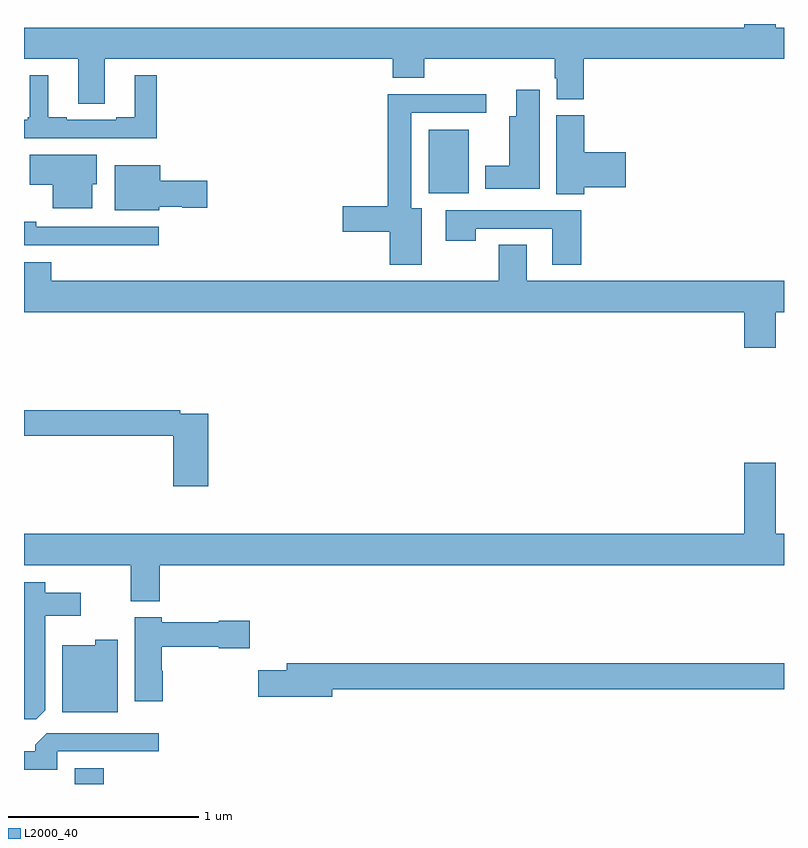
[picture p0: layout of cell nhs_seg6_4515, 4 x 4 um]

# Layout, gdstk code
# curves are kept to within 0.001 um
import gdstk
lib = gdstk.Library(unit=1e-6, precision=1e-09)
def R(c, l, rs):  # rectangles x0, y0, x1, y1
    for r in rs: c.add(gdstk.rectangle(r[:2], r[2:], *l))
def P(c, l, *ps):  # polygons
    for p in ps: c.add(gdstk.Polygon(p, *l))
L2000_40 = (2000, 40)

nhs_seg6_4515 = lib.new_cell('nhs_seg6_4515')
R(nhs_seg6_4515, L2000_40, [(377.267,963.5,377.42,963.583), (379.13,966.608,379.342,966.943)])
P(nhs_seg6_4515, L2000_40, [(377.425,967.316),(378.941,967.316),(378.941,967.217),(379.106,967.217),(379.106,967.316),(379.793,967.316),(379.793,967.215),(379.805,967.215),(379.805,967.105),(379.946,967.105),(379.946,967.316),(381,967.316),(381,967.48),(380.956,967.48),(380.956,967.5),(380.792,967.5),(380.792,967.48),(377,967.48),(377,967.316),(377.285,967.316),(377.285,967.081),(377.425,967.081)],
  [(377.699,967.231),(377.582,967.231),(377.582,967.009),(377.486,967.009),(377.486,966.996),(377.224,966.996),(377.224,967.009),(377.128,967.009),(377.128,967.231),(377.03,967.231),(377.03,967.009),(377.019,967.009),(377.019,966.997),(377,966.997),(377,966.9),(377.699,966.9)],
  [(379.714,967.153),(379.592,967.153),(379.592,967.015),(379.553,967.015),(379.553,966.754),(379.427,966.754),(379.427,966.632),(379.714,966.632)],
  [(379.093,966.529),(379.039,966.529),(379.039,967.032),(379.432,967.032),(379.432,967.13),(378.914,967.13),(378.914,966.542),(378.678,966.542),(378.678,966.407),(378.926,966.407),(378.926,966.234),(379.093,966.234)],
  [(379.949,966.641),(380.167,966.641),(380.167,966.824),(379.949,966.824),(379.949,967.02),(379.802,967.02),(379.802,966.604),(379.949,966.604)],
  [(377.359,966.657),(377.383,966.657),(377.383,966.811),(377.031,966.811),(377.031,966.653),(377.15,966.653),(377.15,966.53),(377.359,966.53)],
  [(377.712,966.539),(377.832,966.539),(377.832,966.532),(377.965,966.532),(377.965,966.674),(377.716,966.674),(377.716,966.757),(377.477,966.757),(377.477,966.521),(377.712,966.521)],
  [(379.934,966.519),(379.221,966.519),(379.221,966.36),(379.377,966.36),(379.377,966.423),(379.781,966.423),(379.781,966.234),(379.934,966.234)],
  [(377.71,966.432),(377.064,966.432),(377.064,966.46),(377,966.46),(377,966.336),(377.164,966.336),(377.164,966.335),(377.71,966.335)],
  [(380.956,965.984),(381,965.984),(381,966.148),(379.645,966.148),(379.645,966.338),(379.498,966.338),(379.498,966.148),(377.144,966.148),(377.144,966.247),(377,966.247),(377,965.984),(380.792,965.984),(380.792,965.796),(380.956,965.796)],
  [(377.969,965.448),(377.822,965.448),(377.822,965.468),(377,965.468),(377,965.332),(377.786,965.332),(377.786,965.067),(377.969,965.067)],
  [(377.714,964.652),(381,964.652),(381,964.816),(380.956,964.816),(380.956,965.191),(380.792,965.191),(380.792,964.816),(377,964.816),(377,964.652),(377.561,964.652),(377.561,964.463),(377.714,964.463)],
  [(377.113,963.889),(377.113,964.385),(377.299,964.385),(377.299,964.507),(377.113,964.507),(377.113,964.561),(377,964.561),(377,963.84),(377.064,963.84)],
  [(377.729,964.097),(377.724,964.097),(377.724,964.222),(378.024,964.222),(378.024,964.214),(378.187,964.214),(378.187,964.359),(378.024,964.359),(378.024,964.351),(377.724,964.351),(377.724,964.378),(377.582,964.378),(377.582,963.936),(377.729,963.936)],
  [(377.494,964.258),(377.376,964.258),(377.376,964.231),(377.201,964.231),(377.201,963.878),(377.494,963.878)],
  [(378.622,964),(381,964),(381,964.136),(378.383,964.136),(378.383,964.1),(378.234,964.1),(378.234,963.958),(378.622,963.958)],
  [(377.175,963.672),(377.71,963.672),(377.71,963.768),(377.121,963.768),(377.06,963.706),(377.06,963.672),(377,963.672),(377,963.576),(377.175,963.576)])

lib.write_gds('nhs_seg6_4515.gds')
